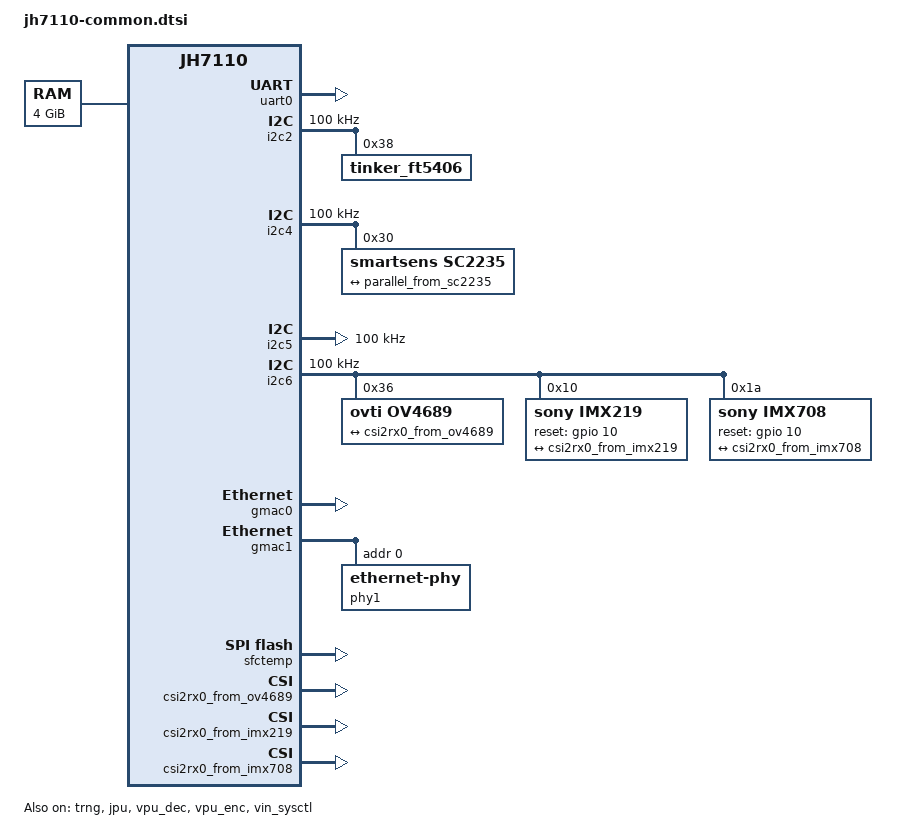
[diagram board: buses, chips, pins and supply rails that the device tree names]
// SPDX-License-Identifier: GPL-2.0 OR MIT
/*
 * Copyright (C) 2022 StarFive Technology Co., Ltd.
 * Copyright (C) 2022 Hal Feng <hal.feng@starfivetech.com>
 */

/dts-v1/;
#include "jh7110.dtsi"
#include "jh7110-evb-pinctrl.dtsi"

/ {
	aliases {
		gpio0 = &gpio;
		ethernet0=&gmac0;
		ethernet1=&gmac1;
		serial0 = &uart0;
		serial3 = &uart3;
		i2c0 = &i2c0;
		i2c1 = &i2c1;
		i2c2 = &i2c2;
		i2c3 = &i2c3;
		i2c4 = &i2c4;
		i2c5 = &i2c5;
		i2c6 = &i2c6;
	};

	chosen {
		linux,initrd-start = <0x0 0x46100000>;
		linux,initrd-end = <0x0 0x4c000000>;
		stdout-path = "serial0:115200";
		#bootargs = "debug console=ttyS0 rootwait";
	};

	cpus {
		timebase-frequency = <4000000>;
	};

	memory@40000000 {
		device_type = "memory";
		reg = <0x0 0x40000000 0x1 0x0>;
	};

	reserved-memory {
		#address-cells = <2>;
		#size-cells = <2>;
		ranges;

		linux,cma {
			compatible = "shared-dma-pool";
			reusable;
			size = <0x0 0x20000000>;
			alignment = <0x0 0x1000>;
			alloc-ranges = <0x0 0x80000000 0x0 0x20000000>;
			linux,cma-default;
		};
	};
};

&uart0 {
	pinctrl-names = "default";
	pinctrl-0 = <&uart0_pins>;
	status = "okay";
};

&uart1 {
       pinctrl-names = "default";
       pinctrl-0 = <&uart1_pins>;
       status = "disabled";
};

&uart2 {
       pinctrl-names = "default";
       pinctrl-0 = <&uart2_pins>;
       status = "disabled";
};

&uart3 {
       pinctrl-names = "default";
       pinctrl-0 = <&uart3_pins>;
       status = "disabled";
};

&uart4 {
       pinctrl-names = "default";
       pinctrl-0 = <&uart4_pins>;
       status = "disabled";
};

&uart5 {
       pinctrl-names = "default";
       pinctrl-0 = <&uart5_pins>;
       status = "disabled";
};

&trng {
	status = "okay";
};

&i2c0 {
	clock-frequency = <100000>;
	i2c-sda-hold-time-ns = <300>;
	i2c-sda-falling-time-ns = <510>;
	i2c-scl-falling-time-ns = <510>;
	auto_calc_scl_lhcnt;
	pinctrl-names = "default";
	pinctrl-0 = <&i2c0_pins>;
	status = "disabled";

	wm8960: codec@1a {
		compatible = "wlf,wm8960";
		reg = <0x1a>;
		wlf,shared-lrclk;
		#sound-dai-cells = <0>;
	};
};

&i2c1 {
	clock-frequency = <100000>;
	i2c-sda-hold-time-ns = <300>;
	i2c-sda-falling-time-ns = <510>;
	i2c-scl-falling-time-ns = <510>;
	auto_calc_scl_lhcnt;
	pinctrl-names = "default";
	pinctrl-0 = <&i2c1_pins>;
	status = "disabled";
};

&i2c2 {
	clock-frequency = <100000>;
	i2c-sda-hold-time-ns = <300>;
	i2c-sda-falling-time-ns = <510>;
	i2c-scl-falling-time-ns = <510>;
	auto_calc_scl_lhcnt;
	pinctrl-names = "default";
	pinctrl-0 = <&i2c2_pins>;
	status = "okay";

	tinker_ft5406: tinker_ft5406@38 {
		compatible = "tinker_ft5406";
		reg = <0x38>;
	};
};

&i2c3 {
	clock-frequency = <100000>;
	i2c-sda-hold-time-ns = <300>;
	i2c-sda-falling-time-ns = <510>;
	i2c-scl-falling-time-ns = <510>;
	auto_calc_scl_lhcnt;
	pinctrl-names = "default";
	pinctrl-0 = <&i2c3_pins>;
	status = "disabled";
};

&i2c4 {
	clock-frequency = <100000>;
	i2c-sda-hold-time-ns = <300>;
	i2c-sda-falling-time-ns = <510>;
	i2c-scl-falling-time-ns = <510>;
	auto_calc_scl_lhcnt;
	pinctrl-names = "default";
	pinctrl-0 = <&i2c4_pins>;
	status = "okay";

	sc2235: sc2235@30 {
		compatible = "smartsens,sc2235";
		reg = <0x30>;
		clocks = <&clk_ext_camera>;
		clock-names = "xclk";

		port {
			/* Parallel bus endpoint */
			sc2235_to_parallel: endpoint {
				remote-endpoint = <&parallel_from_sc2235>;
				bus-type = <5>;      /* Parallel */
				bus-width = <8>;
				data-shift = <2>; /* lines 13:6 are used */
				hsync-active = <1>;
				vsync-active = <1>;
				pclk-sample = <1>;
			};
		};
	};
};

&i2c5 {
	clock-frequency = <100000>;
	i2c-sda-hold-time-ns = <300>;
	i2c-sda-falling-time-ns = <510>;
	i2c-scl-falling-time-ns = <510>;
	auto_calc_scl_lhcnt;
	pinctrl-names = "default";
	pinctrl-0 = <&i2c5_pins>;
	status = "okay";
};

&i2c6 {
	clock-frequency = <100000>;
	i2c-sda-hold-time-ns = <300>;
	i2c-sda-falling-time-ns = <510>;
	i2c-scl-falling-time-ns = <510>;
	auto_calc_scl_lhcnt;
	pinctrl-names = "default";
	pinctrl-0 = <&i2c6_pins>;
	status = "okay";

	ov4689: ov4689@36 {
		compatible = "ovti,ov4689";
		reg = <0x36>;
		clocks = <&clk_ext_camera>;
		clock-names = "xclk";
		//reset-gpio = <&gpio 18 0>;
		rotation = <180>;

		port {
			/* Parallel bus endpoint */
			ov4689_to_csi2rx0: endpoint {
				remote-endpoint = <&csi2rx0_from_ov4689>;
				bus-type = <4>;		/* MIPI CSI-2 D-PHY */
				clock-lanes = <0>;
				data-lanes = <1 2 3 4>;
			};
		};
	};

	imx219: imx219@10 {
		compatible = "sony,imx219";
		reg = <0x10>;
		clocks = <&clk_ext_camera>;
		clock-names = "xclk";
		reset-gpio = <&gpio 10 0>;
		//DOVDD-supply = <&v2v8>;
		rotation = <0>;
		orientation = <1>; //CAMERA_ORIENTATION_BACK

		port {
			/* CSI2 bus endpoint */
			imx219_to_csi2rx0: endpoint {
				remote-endpoint = <&csi2rx0_from_imx219>;
				bus-type = <4>;      /* MIPI CSI-2 D-PHY */
				clock-lanes = <0>;
				data-lanes = <2 1>;
				lane-polarities = <1 1 1>;
				link-frequencies = /bits/ 64 <456000000>;
			};
		};
	};

	imx708: imx708@1a {
		compatible = "sony,imx708";
		reg = <0x1a>;
		clocks = <&clk_ext_camera>;
		reset-gpio = <&gpio 10 0>;

		port {
			imx708_to_csi2rx0: endpoint {
				remote-endpoint = <&csi2rx0_from_imx708>;
				data-lanes = <1 2>;
				clock-noncontinuous;
				link-frequencies = /bits/ 64 <450000000>;
			};
		};
	};
};

&spdif_transmitter {
	status = "disabled";
};

&mailbox_contrl0 {
	status = "okay";
};

&mailbox_client0 {
	status = "okay";
};

&jpu {
	status = "okay";
};

&vpu_dec {
	status = "okay";
};

&vpu_enc {
	status = "okay";
};

&gmac0 {
	status = "okay";
	#address-cells = <1>;
	#size-cells = <0>;
	phy0: ethernet-phy@0 {
		rxc_dly_en = <1>;
		tx_delay_sel_fe = <5>;
		tx_delay_sel = <0xb>;
		tx_inverted_10 = <0x0>;
		tx_inverted_100 = <0x0>;
		tx_inverted_1000 = <0x0>;
	};
};

&gmac1 {
	#address-cells = <1>;
	#size-cells = <0>;
	status = "okay";
	phy1: ethernet-phy@1 {
		rxc-skew-ps = <1060>;
		txc-skew-ps = <1800>;
		reg = <0>;
	};
};

&tdm {
	pinctrl-names = "default";
	pinctrl-0 = <&tdm0_pins>;
	status = "disabled";
};

&usbdrd30 {
	pinctrl-names = "default";
	pinctrl-0 = <&usb_pins>;
	dr_mode = "host"; /*host or peripheral*/
	status = "disabled";
};

&sfctemp {
	status = "okay";
};

&cpu1 {
	/delete-property/ clocks;
	/delete-property/ clock-names;
};

&cpu2 {
	/delete-property/ clocks;
	/delete-property/ clock-names;
};

&cpu3 {
	/delete-property/ clocks;
	/delete-property/ clock-names;
};

&cpu4 {
	/delete-property/ clocks;
	/delete-property/ clock-names;
};

&vin_sysctl {
	status = "okay";

	ports {
		#address-cells = <1>;
		#size-cells = <0>;

		port@0 {
			reg = <0>;
			#address-cells = <1>;
			#size-cells = <0>;

			/* Parallel bus endpoint */
			parallel_from_sc2235: endpoint@0 {
				reg = <0>;
				remote-endpoint = <&sc2235_to_parallel>;
				bus-type = <5>;		/* Parallel */
				bus-width = <8>;
				data-shift = <2>;	/* lines 9:2 are used */
				hsync-active = <1>;
				vsync-active = <0>;
				pclk-sample = <1>;
				status = "okay";
			};
		};

		port@1 {
			reg = <1>;
			#address-cells = <1>;
			#size-cells = <0>;

			/* CSI2 bus endpoint */
			csi2rx0_from_ov4689: endpoint@0 {
				reg = <0>;
				remote-endpoint = <&ov4689_to_csi2rx0>;
				bus-type = <4>;      /* MIPI CSI-2 D-PHY */
				clock-lanes = <0>;
				data-lanes = <1 2 3 4>;
				status = "okay";
			};

			/* CSI2 bus endpoint */
			csi2rx0_from_imx219: endpoint@1 {
				reg = <1>;
				remote-endpoint = <&imx219_to_csi2rx0>;
				bus-type = <4>;      /* MIPI CSI-2 D-PHY */
				clock-lanes = <0>;
				data-lanes = <2 1>;
				lane-polarities = <1 1 1>;
				status = "okay";
			};

			csi2rx0_from_imx708: endpoint@2 {
				reg = <2>;
				remote-endpoint = <&imx708_to_csi2rx0>;
				bus-type = <4>;      /* MIPI CSI-2 D-PHY */
				clock-lanes = <0>;
				data-lanes = <2 1>;
				lane-polarities = <1 1 1>;
				status = "okay";
			};
		};
	};
};
